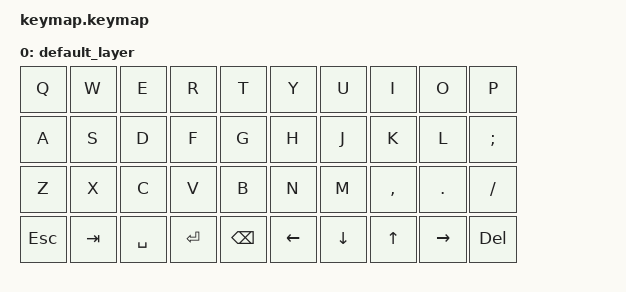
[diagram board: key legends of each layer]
# Default keymap.keymap (from ergomechstore)
/ {
    keymap {
        compatible = "zmk,keymap";

        default_layer {
            bindings = <
                &kp Q &kp W &kp E &kp R &kp T &kp Y &kp U &kp I &kp O &kp P
                &kp A &kp S &kp D &kp F &kp G &kp H &kp J &kp K &kp L &kp SEMI
                &kp Z &kp X &kp C &kp V &kp B &kp N &kp M &kp COMMA &kp DOT &kp SLASH
                &kp ESC &kp TAB &kp SPACE &kp ENTER &kp BSPC &kp LEFT &kp DOWN &kp UP &kp RIGHT &kp DEL
            >;
        };
    };
};
